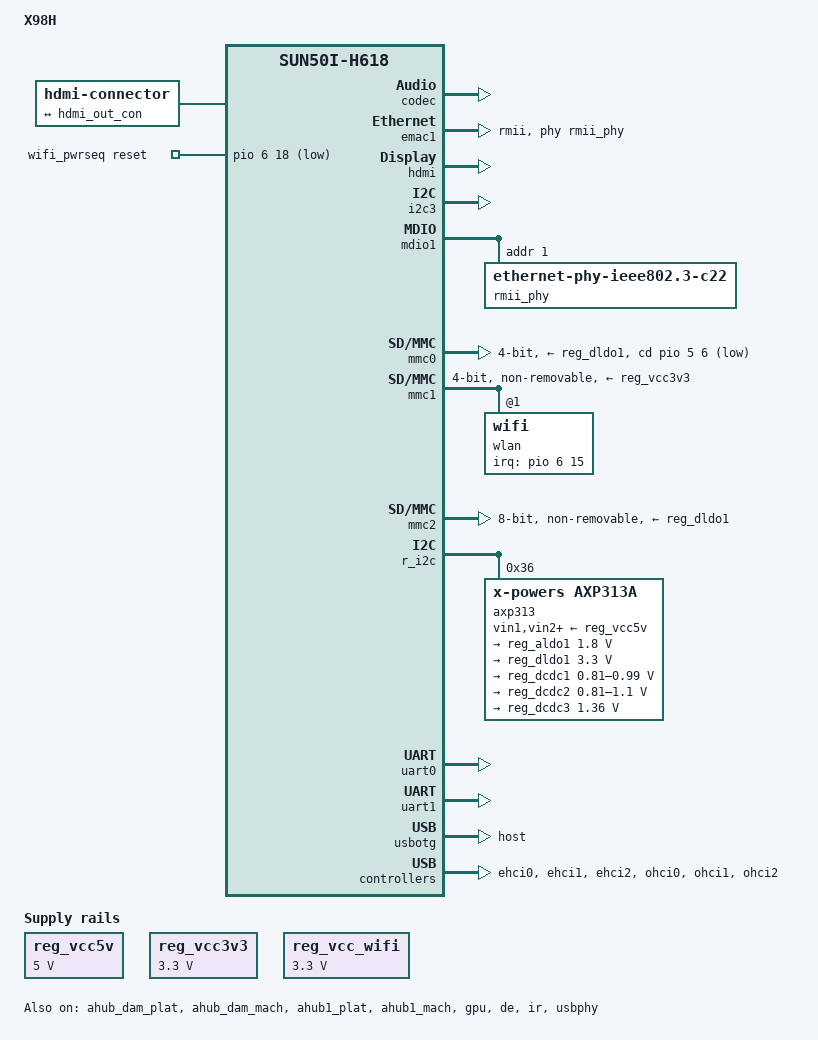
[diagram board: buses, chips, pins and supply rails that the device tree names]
// SPDX-License-Identifier: (GPL-2.0+ OR MIT)
/*
 * Copyright (C) 2023 Arm Ltd.
 *
 * Ported to linux-6.18.y (Armbian sunxi-6.18 patched tree).
 *
 * Differences from the 6.12 BSP version:
 *  - &emac1 keeps the Armbian BSP "allwinner,sunxi-gmac" compatible from the
 *    patched sun50i-h616.dtsi; the 6.12 override to mainline
 *    "allwinner,sun50i-a64-emac" is not needed because the BSP sunxi-gmac
 *    driver does not set H3_EPHY_SHUTDOWN on EMAC1.
 *  - The &uart1 "allwinner,sunxi-btlpm" bluetooth child is removed because
 *    the Armbian addr-mgt/uwe5622 driver patch (patches.armbian/
 *    drv-misc-sunxi-add-addr-mgt-driver-uwe5622.patch) is skipped on this
 *    tree. UART1 stays enabled so hciattach can still be used from userspace.
 */

/dts-v1/;

#include "sun50i-h616.dtsi"
#include "sun50i-h616-cpu-opp.dtsi"

#include <dt-bindings/gpio/gpio.h>
#include <dt-bindings/interrupt-controller/arm-gic.h>

/ {
	model = "X98H";
	compatible = "vontar,x98h", "allwinner,sun50i-h618";

	aliases {
		ethernet0 = &emac1;
		ethernet1 = &wlan;
		serial0 = &uart0;
	};

	chosen {
		stdout-path = "serial0:115200n8";
	};

	connector {
		compatible = "hdmi-connector";
		type = "a";

		port {
			hdmi_con_in: endpoint {
				remote-endpoint = <&hdmi_out_con>;
			};
		};
	};

	reg_vcc5v: vcc5v {
		/* board wide 5V supply directly from the DC input */
		compatible = "regulator-fixed";
		regulator-name = "vcc-5v";
		regulator-min-microvolt = <5000000>;
		regulator-max-microvolt = <5000000>;
		regulator-always-on;
	};

	reg_vcc3v3: vcc3v3 {
		/* discrete 3.3V regulator */
		compatible = "regulator-fixed";
		regulator-name = "vcc-3v3";
		regulator-min-microvolt = <3300000>;
		regulator-max-microvolt = <3300000>;
		regulator-always-on;
	};

	reg_vcc_wifi: reg_vcc_wifi {
		compatible = "regulator-fixed";
		regulator-name = "vcc-wifi";
		regulator-min-microvolt = <3300000>;
		regulator-max-microvolt = <3300000>;
		enable-active-high;
		regulator-always-on;
	};

	wifi_pwrseq: wifi_pwrseq {
		compatible = "mmc-pwrseq-simple";
		reset-gpios = <&pio 6 18 GPIO_ACTIVE_LOW>; /* PG18 WL_REG_ON */
	};
};

&cpu0 {
	cpu-supply = <&reg_dcdc2>;
};

&ahub_dam_plat {
	status = "okay";
};

&ahub_dam_mach {
	status = "okay";
};

&ahub1_plat {
	status = "okay";
};

&ahub1_mach {
	status = "okay";
};

&codec {
	allwinner,audio-routing =
		"Line Out", "LINEOUT";
	status = "okay";
};

&emac1 {
	pinctrl-names = "default";
	pinctrl-0 = <&rmii_pins>;
	phy-mode = "rmii";
	phy-handle = <&rmii_phy>;
	status = "okay";
};

&gpu {
	mali-supply = <&reg_dcdc1>;
	status = "okay";
};

&hdmi {
	hvcc-supply = <&reg_aldo1>;
	status = "okay";
};

&hdmi_out {
	hdmi_out_con: endpoint {
		remote-endpoint = <&hdmi_con_in>;
	};
};

&de {
	status = "okay";
};

&ir {
	status = "okay";
};

&i2c3 {
	status = "okay";
};

&mdio1 {
	rmii_phy: ethernet-phy@1 {
		compatible = "ethernet-phy-ieee802.3-c22";
		reg = <1>;
	};
};

&mmc0 {
	vmmc-supply = <&reg_dldo1>;
	cd-gpios = <&pio 5 6 (GPIO_ACTIVE_LOW | GPIO_PULL_DOWN)>; /* PF6 */
	bus-width = <4>;
	status = "okay";
};

&mmc1 {
	vmmc-supply = <&reg_vcc3v3>;
	mmc-pwrseq = <&wifi_pwrseq>;
	bus-width = <4>;
	non-removable;
	max-frequency = <35000000>;
	status = "okay";

	wlan: wifi@1 {
		reg = <1>;
		interrupt-parent = <&pio>;
		interrupts = <6 15 IRQ_TYPE_EDGE_RISING>; /* PG15 WL_HOSTWAKE */
		interrupt-names = "host-wake";
	};
};

&mmc2 {
	vmmc-supply = <&reg_dldo1>;
	vqmmc-supply = <&reg_aldo1>;
	bus-width = <8>;
	non-removable;
	cap-mmc-hw-reset;
	mmc-ddr-1_8v;
	mmc-hs200-1_8v;
	status = "okay";
};

&r_i2c {
	status = "okay";

	axp313: pmic@36 {
		compatible = "x-powers,axp313a";
		reg = <0x36>;
		#interrupt-cells = <1>;
		interrupt-controller;

		vin1-supply = <&reg_vcc5v>;
		vin2-supply = <&reg_vcc5v>;
		vin3-supply = <&reg_vcc5v>;

		regulators {
			reg_aldo1: aldo1 {
				regulator-always-on;
				regulator-min-microvolt = <1800000>;
				regulator-max-microvolt = <1800000>;
				regulator-name = "vcc-1v8-pll";
			};

			reg_dldo1: dldo1 {
				regulator-always-on;
				regulator-min-microvolt = <3300000>;
				regulator-max-microvolt = <3300000>;
				regulator-name = "vcc-3v3-io-mmc";
			};

			reg_dcdc1: dcdc1 {
				regulator-always-on;
				regulator-min-microvolt = <810000>;
				regulator-max-microvolt = <990000>;
				regulator-name = "vdd-gpu-sys";
			};

			reg_dcdc2: dcdc2 {
				regulator-always-on;
				regulator-min-microvolt = <810000>;
				regulator-max-microvolt = <1100000>;
				regulator-name = "vdd-cpu";
			};

			reg_dcdc3: dcdc3 {
				regulator-always-on;
				regulator-min-microvolt = <1360000>;
				regulator-max-microvolt = <1360000>;
				regulator-name = "vdd-dram";
			};
		};
	};
};

&pio {
	vcc-pc-supply = <&reg_aldo1>;
	vcc-pg-supply = <&reg_dldo1>;
	vcc-ph-supply = <&reg_dldo1>;
	vcc-pi-supply = <&reg_dldo1>;
};

&uart0 {
	pinctrl-names = "default";
	pinctrl-0 = <&uart0_ph_pins>;
	status = "okay";
};

/*
 * UART1 is routed to the on-board Bluetooth module. The BSP
 * "allwinner,sunxi-btlpm" child is omitted because its driver
 * (drv-misc-sunxi-add-addr-mgt-driver-uwe5622.patch) is skipped
 * on this tree. Use userspace hciattach to bring the BT link up.
 */
&uart1 {
	pinctrl-names = "default";
	pinctrl-0 = <&uart1_pins>, <&uart1_rts_cts_pins>;
	uart-has-rtscts;
	status = "okay";
};

&usbotg {
	dr_mode = "host";	/* USB A type receptacle */
	status = "okay";
};

&usbphy {
	status = "okay";
};

&ehci0 {
	status = "okay";
};

&ehci1 {
	status = "okay";
};

&ehci2 {
	status = "okay";
};

&ohci0 {
	status = "okay";
};

&ohci1 {
	status = "okay";
};

&ohci2 {
	status = "okay";
};
